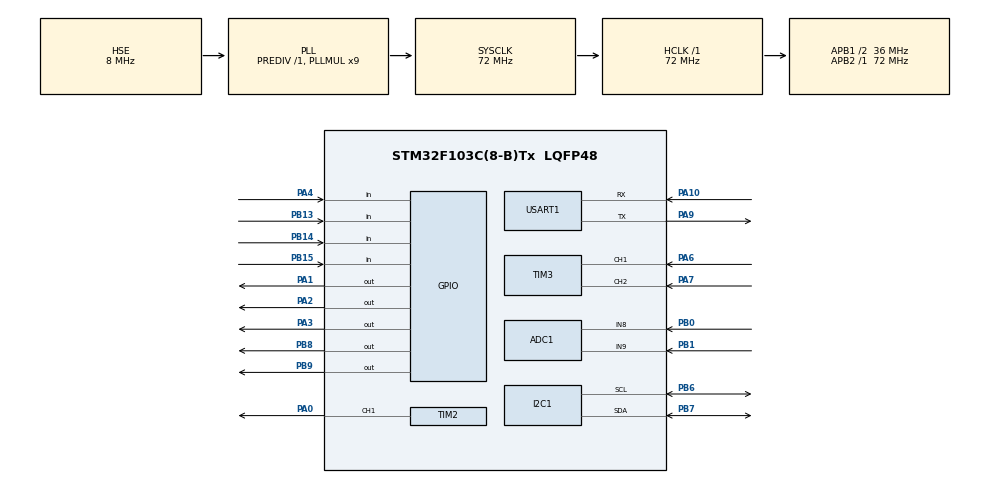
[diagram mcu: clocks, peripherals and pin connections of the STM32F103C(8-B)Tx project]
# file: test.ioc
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ADC1.Channel-0\#ChannelRegularConversion=ADC_CHANNEL_8
ADC1.NbrOfConversionFlag=1
ADC1.Rank-0\#ChannelRegularConversion=1
ADC1.SamplingTime-0\#ChannelRegularConversion=ADC_SAMPLETIME_1CYCLE_5
ADC1.master=1
Mcu.Family=STM32F1
Mcu.Name=STM32F103C(8-B)Tx
Mcu.Package=LQFP48
NVIC.PriorityGroup=NVIC_PRIORITYGROUP_4
PA0-WKUP.Signal=S_TIM2_CH1_ETR
PA1.Signal=GPIO_Output
PA10.Mode=Asynchronous
PA10.Signal=USART1_RX
PA13.Mode=Serial_Wire
PA13.Signal=SYS_JTMS-SWDIO
PA14.Mode=Serial_Wire
PA14.Signal=SYS_JTCK-SWCLK
PA2.Signal=GPIO_Output
PA3.Signal=GPIO_Output
PA4.GPIO_PuPd=GPIO_PULLUP
PA4.Signal=GPIO_Input
PA6.Signal=S_TIM3_CH1
PA7.Signal=S_TIM3_CH2
PA9.Mode=Asynchronous
PA9.Signal=USART1_TX
PB0.Signal=ADCx_IN8
PB1.Signal=ADCx_IN9
PB13.GPIO_PuPd=GPIO_PULLUP
PB13.Signal=GPIO_Input
PB14.GPIO_PuPd=GPIO_PULLUP
PB14.Signal=GPIO_Input
PB15.GPIO_PuPd=GPIO_PULLUP
PB15.Signal=GPIO_Input
PB6.Mode=I2C
PB6.Signal=I2C1_SCL
PB7.Mode=I2C
PB7.Signal=I2C1_SDA
PB8.Signal=GPIO_Output
PB9.Signal=GPIO_Output
PD0-OSC_IN.Mode=HSE-External-Oscillator
PD0-OSC_IN.Signal=RCC_OSC_IN
PD1-OSC_OUT.Mode=HSE-External-Oscillator
PD1-OSC_OUT.Signal=RCC_OSC_OUT
ProjectManager.HeapSize=0x200
ProjectManager.StackSize=0x400
ProjectManager.TargetToolchain=MDK-ARM V5.32
RCC.ADCPresc=RCC_ADCPCLK2_DIV6
RCC.AHBFreq_Value=72000000
RCC.APB1CLKDivider=RCC_HCLK_DIV2
RCC.APB1Freq_Value=36000000
RCC.APB1TimFreq_Value=72000000
RCC.APB2Freq_Value=72000000
RCC.APB2TimFreq_Value=72000000
RCC.HCLKFreq_Value=72000000
RCC.PLLMUL=RCC_PLL_MUL9
RCC.PLLSourceVirtual=RCC_PLLSOURCE_HSE
RCC.SYSCLKFreq_VALUE=72000000
RCC.SYSCLKSource=RCC_SYSCLKSOURCE_PLLCLK
RCC.USBFreq_Value=72000000
SH.ADCx_IN8.0=ADC1_IN8,IN8
SH.ADCx_IN9.0=ADC1_IN9,IN9
SH.S_TIM2_CH1_ETR.0=TIM2_CH1,PWM Generation1 CH1
SH.S_TIM3_CH1.0=TIM3_CH1,Encoder_Interface
SH.S_TIM3_CH2.0=TIM3_CH2,Encoder_Interface
TIM2.Channel-PWM\ Generation1\ CH1=TIM_CHANNEL_1
USART1.VirtualMode=VM_ASYNC
board=custom

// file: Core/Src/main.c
/* USER CODE BEGIN Header */
/**
  ******************************************************************************
  * @file           : main.c
  * @brief          : Main program body
  ******************************************************************************
  * @attention
  *
  * Copyright (c) 2026 STMicroelectronics.
  * All rights reserved.
  *
  * This software is licensed under terms that can be found in the LICENSE file
  * in the root directory of this software component.
  * If no LICENSE file comes with this software, it is provided AS-IS.
  *
  ******************************************************************************
  */
/* USER CODE END Header */
#include "main.h"
#include "adc.h"
#include "i2c.h"
#include "tim.h"
#include "usart.h"
#include "gpio.h"
#include "oled.h"

/* USER CODE BEGIN Includes */
#include <stdio.h>
#include <string.h>

/* USER CODE END Includes */

/* USER CODE BEGIN PD */
#define MODE_MANUAL 0
#define MODE_AUTO   1

/* USER CODE END PD */

/* USER CODE BEGIN PV */

/*记录 LED1、LED2 当前开关状态*/
uint8_t led1_state = 0;
uint8_t led2_state = 0;
// 记录当前被选中的 LED，是 1 还是 2
uint8_t selected_led = 1;
// 记录亮度模式，0 是手动，1 是自动
uint8_t brightness_mode = MODE_MANUAL;
// 记录主灯当前亮度百分比，范围 0~100，初始为50
uint16_t brightness = 50;
// 记录光敏传感器的 ADC 原始值
uint16_t light_raw = 0;
// 记录上一次编码器计数值，用来判断旋转方向和步进
uint16_t encoder_last_count = 0;
// 用于限制自动调光和串口打印频率，避免刷新过快
uint32_t auto_adjust_tick = 0;
uint32_t auto_report_tick = 0;

/* USER CODE END PV */

void SystemClock_Config(void);
/* USER CODE BEGIN PFP */
void Panel_ShowStatus(void);
void MainLight_SetBrightness(uint16_t percent);
void Serial_Print(char *text);
void Serial_PrintStatus(char *event_name);
uint16_t LightSensor_Read(void);
void BrightnessMode_Toggle(void);
void AutoBrightness_Update(uint8_t force_apply, uint8_t report_event);

/* USER CODE END PFP */

/* USER CODE BEGIN 0 */
/* 串口发送基础字符串，用于输出调试信息 */
void Serial_Print(char *text)
{
  HAL_UART_Transmit(&huart1, (uint8_t *)text, strlen(text), HAL_MAX_DELAY);
}

/* 按统一格式输出当前系统状态，便于串口调试观察 */
void Serial_PrintStatus(char *event_name)
{
  char buffer[128];

  /* 将当前模式、选中对象、灯状态、主灯亮度和光照值拼成一行日志 */
  snprintf(buffer, sizeof(buffer),
           "[%-8s] Mode=%s | Sel=L%d | LED1=%s | LED2=%s | Main=%3u%% | Light=%4u\r\n",
           event_name,
           brightness_mode == MODE_AUTO ? "AUTO" : "MANUAL",
           selected_led,
           led1_state ? "ON" : "OFF",
           led2_state ? "ON" : "OFF",
           brightness,
           light_raw);
  Serial_Print(buffer);
}

/* 按百分比设置主灯亮度，本质上是修改 PWM 占空比 */
void MainLight_SetBrightness(uint16_t percent)
{
  uint32_t pulse;

  /* 对外只允许设置 0~100 的亮度百分比 */
  if (percent > 100U)
  {
    percent = 100U;
  }

  brightness = percent;
  /* 将亮度百分比换算为 TIM2 的比较值，从而改变 PWM 占空比 */
  pulse = ((uint32_t)htim2.Init.Period * brightness) / 100U;
  __HAL_TIM_SET_COMPARE(&htim2, TIM_CHANNEL_1, pulse);
}

/* 启动一次 ADC 转换并读取光敏传感器的原始值 */
uint16_t LightSensor_Read(void)
{
  HAL_ADC_Start(&hadc1);
  HAL_ADC_PollForConversion(&hadc1, HAL_MAX_DELAY);
  return (uint16_t)HAL_ADC_GetValue(&hadc1);
}

/* 在手动模式和自动模式之间切换 */
void BrightnessMode_Toggle(void)
{
  if (brightness_mode == MODE_MANUAL)
  {
    brightness_mode = MODE_AUTO;
  }
  else
  {
    brightness_mode = MODE_MANUAL;
  }
}

/* 自动模式下根据环境光强更新主灯亮度，并限制更新频率避免抖动 */
void AutoBrightness_Update(uint8_t force_apply, uint8_t report_event)
{
  uint16_t auto_brightness;
  uint32_t now_tick;

  /* 将 12 位 ADC 值映射到 20%~100% 的亮度范围，避免自动模式下过暗 */
  auto_brightness = 20U + (light_raw * 80U) / 4095U;
  now_tick = HAL_GetTick();

  /* 满足强制更新，或满足“时间间隔 + 亮度变化阈值”时才真正刷新 */
  if (force_apply ||
      (((now_tick - auto_adjust_tick) >= 200U) &&
       ((auto_brightness > brightness ? (auto_brightness - brightness) : (brightness - auto_brightness)) >= 5U)))
  {
    MainLight_SetBrightness(auto_brightness);
    Panel_ShowStatus();
    auto_adjust_tick = now_tick;

    if (report_event && ((now_tick - auto_report_tick) >= 400U))
    {
      /* 自动模式下不必每次都打串口，限频输出更便于观察 */
      Serial_PrintStatus("AUTO");
      auto_report_tick = now_tick;
    }
  }
}

/* 将当前选中的 LED、开关状态、亮度和模式刷新到 OLED 上 */
void Panel_ShowStatus(void)
{
  /* 第 1 行显示 LED1 状态，> 表示当前被选中 */
  if (selected_led == 1)
  {
    OLED_ShowString(1, 1, ">L1:");
  }
  else
  {
    OLED_ShowString(1, 1, " L1:");
  }

  if (led1_state)
  {
    OLED_ShowString(1, 6, "ON ");
  }
  else
  {
    OLED_ShowString(1, 6, "OFF");
  }

  /* 第 2 行显示 LED2 状态，> 表示当前被选中 */
  if (selected_led == 2)
  {
    OLED_ShowString(2, 1, ">L2:");
  }
  else
  {
    OLED_ShowString(2, 1, " L2:");
  }

  if (led2_state)
  {
    OLED_ShowString(2, 6, "ON ");
  }
  else
  {
    OLED_ShowString(2, 6, "OFF");
  }

  /* 第 3 行显示主灯亮度百分比 */
  OLED_ShowString(3, 1, "Bright:");
  OLED_ShowNum(3, 8, brightness, 3);
  OLED_ShowChar(3, 11, '%');

  /* 第 4 行显示当前工作模式 */
  if (brightness_mode == MODE_AUTO)
  {
    OLED_ShowString(4, 1, "Mode: AUTO  ");
  }
  else
  {
    OLED_ShowString(4, 1, "Mode: MANUAL");
  }
}

/* USER CODE END 0 */

int main(void)
{

  /* MCU Configuration--------------------------------------------------------*/

  /* Reset of all peripherals, Initializes the Flash interface and the Systick. */
  HAL_Init();

  /* Configure the system clock */
  SystemClock_Config();

  /* Initialize all configured peripherals */
  MX_GPIO_Init();
  MX_ADC1_Init();
  MX_I2C1_Init();
  MX_TIM2_Init();
  MX_TIM3_Init();
  MX_USART1_UART_Init();
  /* USER CODE BEGIN 2 */
  /* 对 ADC 进行校准，保证光敏采样更稳定 */
  HAL_ADCEx_Calibration_Start(&hadc1);

  /* 启动主灯 PWM 输出 */
  HAL_TIM_PWM_Start(&htim2, TIM_CHANNEL_1);

  /* 启动编码器接口，用于读取旋转方向和步数 */
  HAL_TIM_Encoder_Start(&htim3, TIM_CHANNEL_ALL);

  /* 编码器计数清零，作为初始参考值 */
  __HAL_TIM_SET_COUNTER(&htim3, 0);
  encoder_last_count = 0;
  auto_adjust_tick = HAL_GetTick();
  auto_report_tick = HAL_GetTick();

  /* 上电默认关闭两路普通 LED */
  HAL_GPIO_WritePin(GPIOA, GPIO_PIN_1, GPIO_PIN_RESET);
  HAL_GPIO_WritePin(GPIOA, GPIO_PIN_2, GPIO_PIN_RESET);

  /* 主灯默认亮度设为 55% */
  MainLight_SetBrightness(55);

  /* 初始化 OLED 并显示默认状态 */
  OLED_Init();
  Panel_ShowStatus();

  /* 串口打印启动信息，方便联调 */
  Serial_Print("\r\n================ Smart Home Panel ================\r\n");
  Serial_PrintStatus("START");

  /* USER CODE END 2 */

  /* Infinite loop */
  while (1)
  {

    /* USER CODE BEGIN 3 */
    /* 周期性读取光敏传感器的 ADC 原始值 */
    light_raw = LightSensor_Read();

    /* 若当前处于自动模式，则根据环境光自动调整主灯亮度 */
    if (brightness_mode == MODE_AUTO)
    {
      AutoBrightness_Update(0, 1);
    }

    {
      /* 读取编码器计数变化，用于手动调节亮度 */
      uint16_t encoder_count = (uint16_t)__HAL_TIM_GET_COUNTER(&htim3);
      /* 当前计数减去上一次计数，即可得到旋转方向和步进变化 */
      int16_t encoder_delta = (int16_t)(encoder_count - encoder_last_count);
      if (encoder_delta != 0)
      {
        /* 自动模式下如果用户手动旋转编码器，则切回手动模式 */
        if (brightness_mode == MODE_AUTO)
        {
          brightness_mode = MODE_MANUAL;
          Panel_ShowStatus();
          Serial_Print("Manual override\r\n");
        }

        /* 根据旋转方向按 5% 步进增减主灯亮度 */
        if (encoder_delta > 0)
        {
          /* 顺时针方向：提高亮度，上限限制为 100% */
          if (brightness <= 95U)
          {
            MainLight_SetBrightness(brightness + 5U);
          }
          else
          {
            MainLight_SetBrightness(100U);
          }
        }
        else
        {
          /* 逆时针方向：降低亮度，下限限制为 0% */
          if (brightness >= 5U)
          {
            MainLight_SetBrightness(brightness - 5U);
          }
          else
          {
            MainLight_SetBrightness(0U);
          }
        }
        /* 保存本次计数值，作为下一次比较基准 */
        encoder_last_count = encoder_count;
        Panel_ShowStatus();
        Serial_PrintStatus("BRIGHT");
      }
    }

    /* 按键 PA4：切换当前选中的 LED1 / LED2 */
    if (HAL_GPIO_ReadPin(GPIOA, GPIO_PIN_4) == GPIO_PIN_RESET)
    {
      /* 简单软件消抖：延时后再次确认按键仍然按下 */
      HAL_Delay(20);
      if (HAL_GPIO_ReadPin(GPIOA, GPIO_PIN_4) == GPIO_PIN_RESET)
      {
        if (selected_led == 1)
        {
          selected_led = 2;
        }
        else
        {
          selected_led = 1;
        }
        Panel_ShowStatus();
        Serial_PrintStatus("SELECT");
        /* 等待按键释放，避免一次长按被识别为多次触发 */
        while (HAL_GPIO_ReadPin(GPIOA, GPIO_PIN_4) == GPIO_PIN_RESET)
        {
        }
        HAL_Delay(20);
      }
    }

    /* 按键 PB13：控制当前选中 LED 的开关状态 */
    if (HAL_GPIO_ReadPin(GPIOB, GPIO_PIN_13) == GPIO_PIN_RESET)
    {
      /* 先消抖，再执行状态翻转 */
      HAL_Delay(20);
      if (HAL_GPIO_ReadPin(GPIOB, GPIO_PIN_13) == GPIO_PIN_RESET)
      {
        if (selected_led == 1)
        {
          /* 如果当前选中 LED1，就翻转 LED1 的软件状态并更新引脚输出 */
          led1_state = !led1_state;
          HAL_GPIO_WritePin(GPIOA, GPIO_PIN_1, led1_state ? GPIO_PIN_SET : GPIO_PIN_RESET);
        }
        else
        {
          /* 如果当前选中 LED2，就翻转 LED2 的软件状态并更新引脚输出 */
          led2_state = !led2_state;
          HAL_GPIO_WritePin(GPIOA, GPIO_PIN_2, led2_state ? GPIO_PIN_SET : GPIO_PIN_RESET);
        }
        Panel_ShowStatus();
        Serial_PrintStatus("SWITCH");
        while (HAL_GPIO_ReadPin(GPIOB, GPIO_PIN_13) == GPIO_PIN_RESET)
        {
        }
        HAL_Delay(20);
      }
    }

    /* 按键 PB14：切换主灯亮度模式（手动 / 自动） */
    if (HAL_GPIO_ReadPin(GPIOB, GPIO_PIN_14) == GPIO_PIN_RESET)
    {
      HAL_Delay(20);
      if (HAL_GPIO_ReadPin(GPIOB, GPIO_PIN_14) == GPIO_PIN_RESET)
      {
        /* 先切换模式变量，再决定后续是刷新显示还是自动应用亮度 */
        BrightnessMode_Toggle();
        /* 切换到自动模式后立即重新采样并应用一次亮度 */
        light_raw = LightSensor_Read();
        if (brightness_mode == MODE_AUTO)
        {
          AutoBrightness_Update(1, 0);
        }
        else
        {
          /* 切回手动模式时不主动改亮度，只更新显示内容 */
          Panel_ShowStatus();
        }
        Serial_PrintStatus("MODE");
        while (HAL_GPIO_ReadPin(GPIOB, GPIO_PIN_14) == GPIO_PIN_RESET)
        {
        }
        HAL_Delay(20);
      }
    }
  }
  /* USER CODE END 3 */
}

void SystemClock_Config(void)
{
  RCC_OscInitTypeDef RCC_OscInitStruct = {0};
  RCC_ClkInitTypeDef RCC_ClkInitStruct = {0};
  RCC_PeriphCLKInitTypeDef PeriphClkInit = {0};

  /** Initializes the RCC Oscillators according to the specified parameters
  * in the RCC_OscInitTypeDef structure.
  */
  RCC_OscInitStruct.OscillatorType = RCC_OSCILLATORTYPE_HSE;
  RCC_OscInitStruct.HSEState = RCC_HSE_ON;
  RCC_OscInitStruct.HSEPredivValue = RCC_HSE_PREDIV_DIV1;
  RCC_OscInitStruct.HSIState = RCC_HSI_ON;
  RCC_OscInitStruct.PLL.PLLState = RCC_PLL_ON;
  RCC_OscInitStruct.PLL.PLLSource = RCC_PLLSOURCE_HSE;
  RCC_OscInitStruct.PLL.PLLMUL = RCC_PLL_MUL9;
  if (HAL_RCC_OscConfig(&RCC_OscInitStruct) != HAL_OK)
  {
    Error_Handler();
  }

  /** Initializes the CPU, AHB and APB buses clocks
  */
  RCC_ClkInitStruct.ClockType = RCC_CLOCKTYPE_HCLK|RCC_CLOCKTYPE_SYSCLK
                              |RCC_CLOCKTYPE_PCLK1|RCC_CLOCKTYPE_PCLK2;
  RCC_ClkInitStruct.SYSCLKSource = RCC_SYSCLKSOURCE_PLLCLK;
  RCC_ClkInitStruct.AHBCLKDivider = RCC_SYSCLK_DIV1;
  RCC_ClkInitStruct.APB1CLKDivider = RCC_HCLK_DIV2;
  RCC_ClkInitStruct.APB2CLKDivider = RCC_HCLK_DIV1;

  if (HAL_RCC_ClockConfig(&RCC_ClkInitStruct, FLASH_LATENCY_2) != HAL_OK)
  {
    Error_Handler();
  }
  PeriphClkInit.PeriphClockSelection = RCC_PERIPHCLK_ADC;
  PeriphClkInit.AdcClockSelection = RCC_ADCPCLK2_DIV6;
  if (HAL_RCCEx_PeriphCLKConfig(&PeriphClkInit) != HAL_OK)
  {
    Error_Handler();
  }
}

void Error_Handler(void)
{
  __disable_irq();
  while (1)
  {
  }
}
